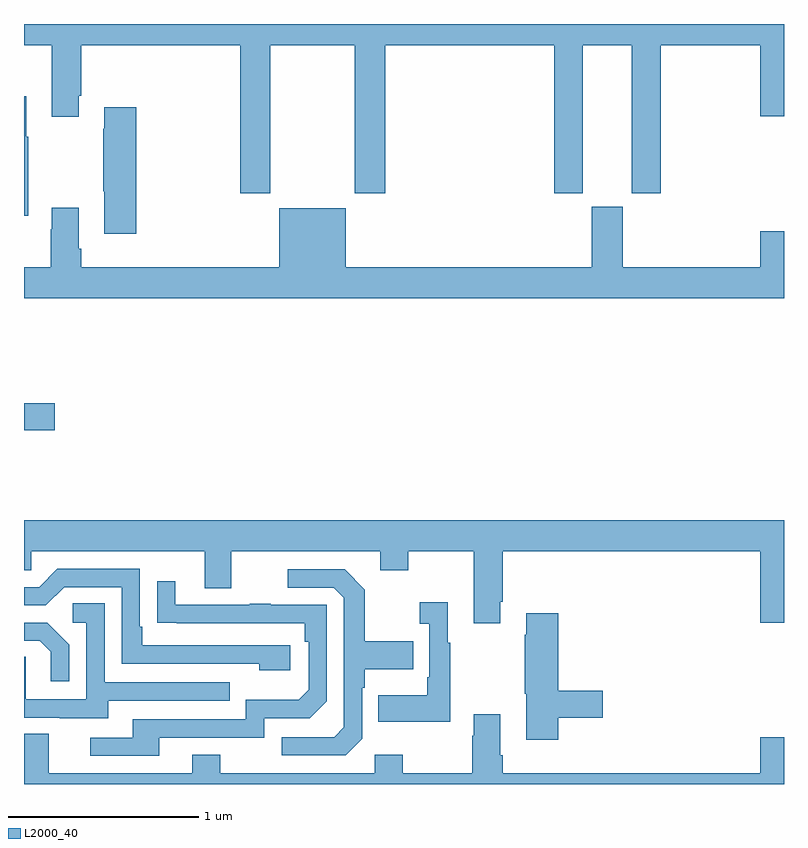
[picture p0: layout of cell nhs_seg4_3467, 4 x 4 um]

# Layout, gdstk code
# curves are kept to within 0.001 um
import gdstk
lib = gdstk.Library(unit=1e-6, precision=1e-09)
def R(c, l, rs):  # rectangles x0, y0, x1, y1
    for r in rs: c.add(gdstk.rectangle(r[:2], r[2:], *l))
def P(c, l, *ps):  # polygons
    for p in ps: c.add(gdstk.Polygon(p, *l))
L2000_40 = (2000, 40)

nhs_seg4_3467 = lib.new_cell('nhs_seg4_3467')
R(nhs_seg4_3467, L2000_40, [(293,826.762,293.161,826.904)])
P(nhs_seg4_3467, L2000_40, [(294.297,828.788),(294.742,828.788),(294.742,828.009),(294.902,828.009),(294.902,828.788),(295.79,828.788),(295.79,828.009),(295.942,828.009),(295.942,828.788),(296.198,828.788),(296.198,828.009),(296.351,828.009),(296.351,828.788),(296.876,828.788),(296.876,828.414),(297,828.414),(297,828.9),(293,828.9),(293,828.788),(293.147,828.788),(293.147,828.411),(293.287,828.411),(293.287,828.523),(293.3,828.523),(293.3,828.788),(294.137,828.788),(294.137,828.009),(294.297,828.009)],
  [(293.023,828.307),(293.011,828.307),(293.011,828.52),(293,828.52),(293,827.891),(293.023,827.891)],
  [(293.591,828.463),(293.423,828.463),(293.423,828.35),(293.416,828.35),(293.416,828.019),(293.423,828.019),(293.423,827.796),(293.591,827.796)],
  [(297,827.809),(296.876,827.809),(296.876,827.62),(296.152,827.62),(296.152,827.937),(295.988,827.937),(295.988,827.62),(294.694,827.62),(294.694,827.929),(294.344,827.929),(294.344,827.62),(293.3,827.62),(293.3,827.716),(293.287,827.716),(293.287,827.932),(293.147,827.932),(293.147,827.819),(293.14,827.819),(293.14,827.62),(293,827.62),(293,827.456),(297,827.456)],
  [(295.507,825.859),(295.52,825.859),(295.52,826.124),(296.876,826.124),(296.876,825.75),(297,825.75),(297,826.288),(293,826.288),(293,826.026),(293.037,826.026),(293.037,826.124),(293.951,826.124),(293.951,825.93),(294.091,825.93),(294.091,826.124),(294.875,826.124),(294.875,826.025),(295.023,826.025),(295.023,826.124),(295.367,826.124),(295.367,825.747),(295.507,825.747)],
  [(294.4,825.63),(293.623,825.63),(293.623,825.727),(293.61,825.727),(293.61,826.032),(293.175,826.032),(293.079,825.936),(293,825.936),(293,825.84),(293.115,825.84),(293.211,825.936),(293.514,825.936),(293.514,825.534),(294.239,825.534),(294.239,825.5),(294.4,825.5)],
  [(294.78,825.138),(294.78,825.407),(294.793,825.407),(294.793,825.503),(295.049,825.503),(295.049,825.651),(294.793,825.651),(294.793,825.923),(294.687,826.029),(294.387,826.029),(294.387,825.933),(294.63,825.933),(294.684,825.879),(294.684,825.198),(294.633,825.147),(294.357,825.147),(294.357,825.051),(294.693,825.051)],
  [(293.713,825.144),(294.264,825.144),(294.264,825.246),(294.504,825.246),(294.594,825.336),(294.594,825.843),(294.299,825.843),(294.299,825.848),(294.187,825.848),(294.187,825.843),(293.797,825.843),(293.797,825.967),(293.701,825.967),(293.701,825.748),(294.478,825.747),(294.478,825.65),(294.498,825.65),(294.498,825.396),(294.445,825.343),(294.168,825.343),(294.168,825.24),(293.573,825.24),(293.573,825.144),(293.349,825.144),(293.349,825.048),(293.713,825.048)],
  [(295.243,825.643),(295.231,825.643),(295.231,825.856),(295.083,825.856),(295.083,825.743),(295.134,825.743),(295.134,825.463),(295.122,825.463),(295.122,825.367),(294.865,825.367),(294.865,825.227),(295.243,825.227)],
  [(293.443,825.339),(294.083,825.339),(294.083,825.435),(293.424,825.435),(293.424,825.851),(293.256,825.851),(293.256,825.75),(293.328,825.75),(293.328,825.345),(293.01,825.345),(293.01,825.569),(293,825.569),(293,825.249),(293.189,825.249),(293.189,825.245),(293.443,825.245)],
  [(295.811,825.25),(296.047,825.25),(296.047,825.392),(295.811,825.392),(295.811,825.799),(295.643,825.799),(295.643,825.686),(295.636,825.686),(295.636,825.375),(295.643,825.375),(295.643,825.132),(295.811,825.132)],
  [(293.238,825.634),(293.122,825.75),(293,825.75),(293,825.654),(293.084,825.654),(293.141,825.597),(293.141,825.441),(293.238,825.441)],
  [(297,825.145),(296.876,825.145),(296.876,824.956),(295.52,824.956),(295.52,825.052),(295.507,825.052),(295.507,825.268),(295.367,825.268),(295.367,825.155),(295.36,825.155),(295.36,824.956),(294.993,824.956),(294.993,825.055),(294.846,825.055),(294.846,824.956),(294.033,824.956),(294.033,825.055),(293.885,825.055),(293.885,824.956),(293.131,824.956),(293.131,825.164),(293,825.164),(293,824.9),(297,824.9)])

lib.write_gds('nhs_seg4_3467.gds')
